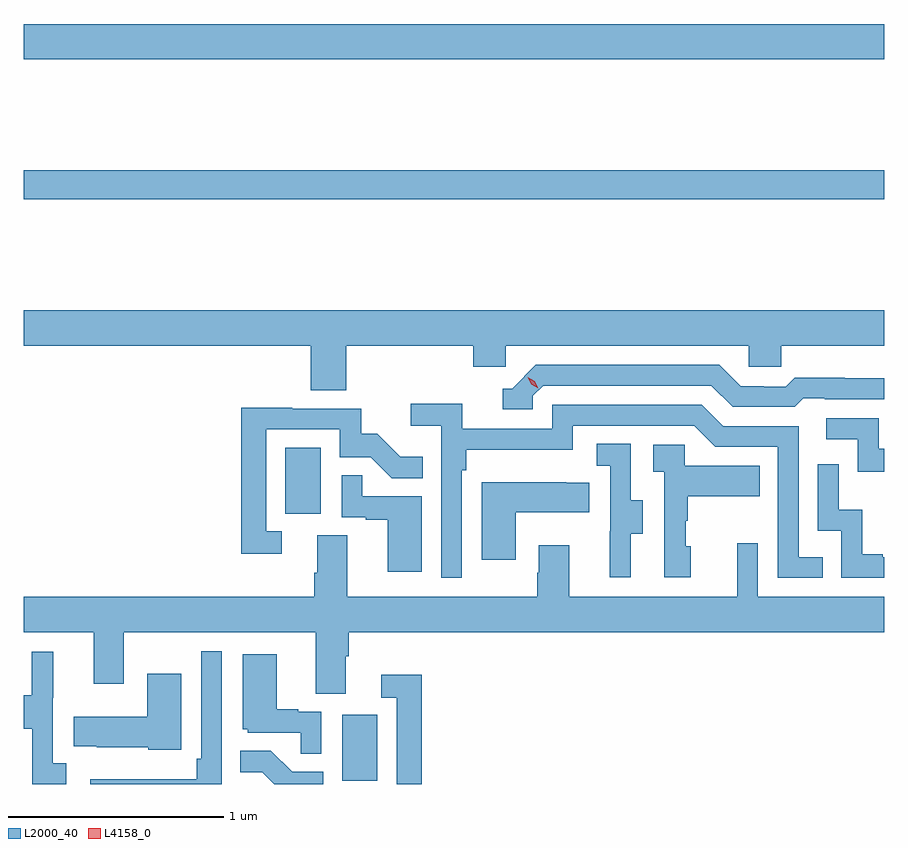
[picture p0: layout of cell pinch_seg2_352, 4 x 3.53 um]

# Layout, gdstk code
import gdstk
lib = gdstk.Library(unit=1e-6, precision=1e-09)
def R(c, l, rs):  # rectangles x0, y0, x1, y1
    for r in rs: c.add(gdstk.rectangle(r[:2], r[2:], *l))
def P(c, l, *ps):  # polygons
    for p in ps: c.add(gdstk.Polygon(p, *l))
L2000_40 = (2000, 40)
L4158_0 = (4158, 0)

pinch_seg2_352 = lib.new_cell('pinch_seg2_352')
R(pinch_seg2_352, L2000_40, [(996.308,632.292,996.472,632.599), (996.044,633.534,996.208,633.841), (994.828,634.996,998.828,635.132), (994.828,635.648,998.828,635.812)])
P(pinch_seg2_352, L2000_40, [(996.326,634.316),(996.917,634.316),(996.917,634.218),(997.068,634.218),(997.068,634.316),(998.199,634.316),(998.199,634.218),(998.349,634.218),(998.349,634.316),(998.828,634.316),(998.828,634.48),(994.828,634.48),(994.828,634.316),(996.161,634.316),(996.161,634.108),(996.326,634.108)],
  [(997.194,634.083),(997.242,634.131),(998.025,634.131),(998.124,634.032),(998.413,634.032),(998.452,634.071),(998.551,634.071),(998.551,634.068),(998.828,634.068),(998.828,634.165),(998.646,634.165),(998.646,634.168),(998.413,634.168),(998.371,634.125),(998.268,634.125),(998.268,634.128),(998.161,634.128),(998.062,634.227),(997.209,634.227),(997.098,634.116),(997.055,634.116),(997.055,634.02),(997.194,634.02)],
  [(996.864,633.737),(996.884,633.737),(996.884,633.833),(997.38,633.833),(997.38,633.945),(997.944,633.945),(998.043,633.846),(998.334,633.846),(998.334,633.237),(998.543,633.237),(998.543,633.333),(998.43,633.333),(998.43,633.942),(998.08,633.942),(997.981,634.041),(997.284,634.041),(997.284,633.93),(996.866,633.93),(996.866,634.046),(996.627,634.046),(996.627,633.944),(996.768,633.944),(996.768,633.237),(996.864,633.237)],
  [(996.028,633.453),(995.955,633.453),(995.955,633.927),(996.297,633.927),(996.297,633.798),(996.441,633.798),(996.539,633.7),(996.683,633.7),(996.683,633.799),(996.579,633.799),(996.472,633.906),(996.396,633.906),(996.396,634.023),(996.077,634.023),(996.077,634.028),(995.839,634.028),(995.839,633.348),(996.028,633.348)],
  [(998.828,633.837),(998.802,633.837),(998.802,633.978),(998.559,633.978),(998.559,633.882),(998.706,633.882),(998.706,633.729),(998.828,633.729)],
  [(997.651,633.442),(997.705,633.442),(997.705,633.597),(997.65,633.597),(997.65,633.86),(997.491,633.86),(997.491,633.757),(997.554,633.757),(997.554,633.453),(997.553,633.453),(997.553,633.24),(997.651,633.24)],
  [(997.93,633.384),(997.905,633.384),(997.905,633.503),(997.915,633.503),(997.915,633.617),(998.249,633.617),(998.249,633.757),(997.902,633.757),(997.902,633.855),(997.755,633.855),(997.755,633.731),(997.806,633.731),(997.806,633.24),(997.93,633.24)],
  [(998.828,633.333),(998.821,633.333),(998.821,633.346),(998.726,633.346),(998.726,633.554),(998.616,633.554),(998.616,633.766),(998.52,633.766),(998.52,633.456),(998.628,633.456),(998.628,633.237),(998.828,633.237)],
  [(996.679,633.615),(996.401,633.615),(996.401,633.713),(996.306,633.713),(996.306,633.519),(996.417,633.519),(996.417,633.507),(996.521,633.507),(996.521,633.264),(996.679,633.264)],
  [(997.114,633.542),(997.457,633.542),(997.457,633.679),(997.349,633.679),(997.349,633.682),(996.956,633.682),(996.956,633.321),(997.114,633.321)],
  [(996.325,632.872),(996.338,632.872),(996.338,632.984),(998.828,632.984),(998.828,633.148),(998.241,633.148),(998.241,633.397),(998.144,633.397),(998.144,633.148),(997.363,633.148),(997.363,633.388),(997.223,633.388),(997.223,633.26),(997.216,633.26),(997.216,633.148),(996.331,633.148),(996.331,633.434),(996.191,633.434),(996.191,633.26),(996.179,633.26),(996.179,633.148),(994.828,633.148),(994.828,632.984),(995.153,632.984),(995.153,632.745),(995.293,632.745),(995.293,632.984),(996.185,632.984),(996.185,632.698),(996.325,632.698)],
  [(995.748,632.896),(995.652,632.896),(995.652,632.395),(995.632,632.395),(995.632,632.299),(995.136,632.299),(995.136,632.278),(995.748,632.278)],
  [(995.026,632.375),(994.962,632.375),(994.962,632.679),(994.964,632.679),(994.964,632.893),(994.865,632.893),(994.865,632.691),(994.828,632.691),(994.828,632.536),(994.866,632.536),(994.866,632.278),(995.026,632.278)],
  [(996.21,632.613),(996.104,632.613),(996.104,632.626),(996.004,632.626),(996.004,632.881),(995.846,632.881),(995.846,632.532),(995.868,632.532),(995.868,632.517),(996.115,632.517),(996.115,632.419),(996.21,632.419)],
  [(995.56,632.791),(995.402,632.791),(995.402,632.59),(995.059,632.59),(995.059,632.453),(995.167,632.453),(995.167,632.45),(995.406,632.45),(995.406,632.438),(995.56,632.438)],
  [(996.677,632.785),(996.489,632.785),(996.489,632.679),(996.561,632.679),(996.561,632.278),(996.677,632.278)],
  [(996.219,632.334),(996.075,632.334),(995.977,632.432),(995.833,632.432),(995.833,632.333),(995.937,632.333),(995.992,632.278),(996.219,632.278)])
P(pinch_seg2_352, L4158_0, [(997.219,634.118),(997.188,634.137),(997.172,634.17),(997.172,634.17),(997.172,634.17),(997.203,634.151),(997.219,634.118),(997.219,634.118)])

lib.write_gds('pinch_seg2_352.gds')
